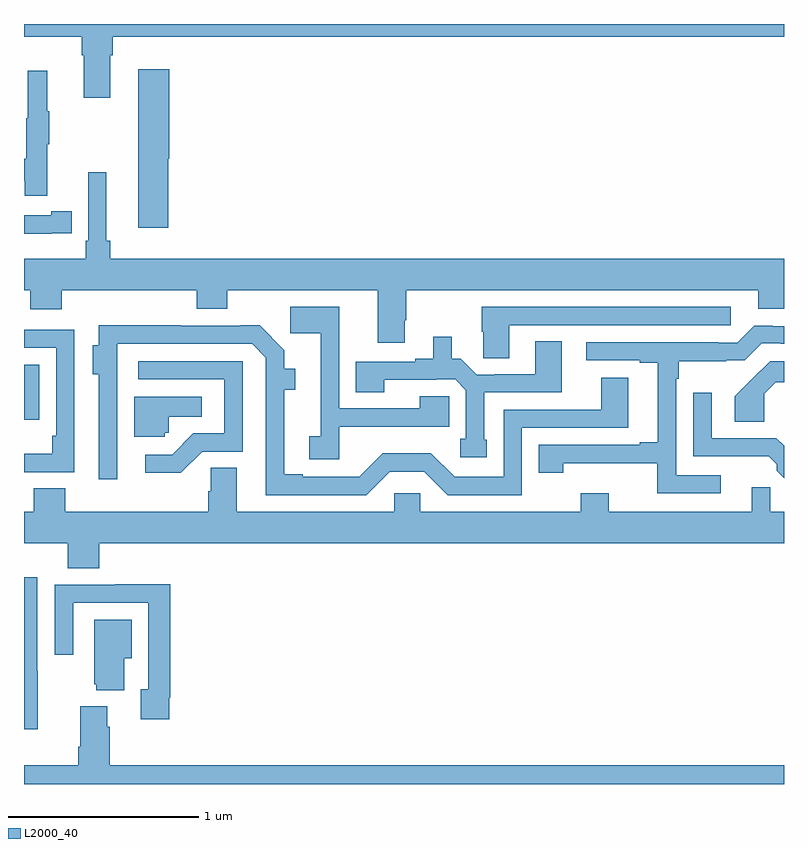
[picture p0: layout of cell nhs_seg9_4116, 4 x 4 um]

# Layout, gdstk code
import gdstk
lib = gdstk.Library(unit=1e-6, precision=1e-09)
def R(c, l, rs):  # rectangles x0, y0, x1, y1
    for r in rs: c.add(gdstk.rectangle(r[:2], r[2:], *l))
def P(c, l, *ps):  # polygons
    for p in ps: c.add(gdstk.Polygon(p, *l))
L2000_40 = (2000, 40)

nhs_seg9_4116 = lib.new_cell('nhs_seg9_4116')
R(nhs_seg9_4116, L2000_40, [(347,1182.416,347.08,1182.706)])
P(nhs_seg9_4116, L2000_40, [(347.455,1184.336),(347.468,1184.336),(347.468,1184.432),(351,1184.432),(351,1184.5),(347,1184.5),(347,1184.432),(347.303,1184.432),(347.303,1184.336),(347.315,1184.336),(347.315,1184.112),(347.455,1184.112)],
  [(347.759,1183.791),(347.764,1183.791),(347.764,1184.263),(347.6,1184.263),(347.6,1183.428),(347.759,1183.428)],
  [(347.123,1183.867),(347.134,1183.867),(347.134,1184.041),(347.123,1184.041),(347.123,1184.254),(347.02,1184.254),(347.02,1184.004),(347.013,1184.004),(347.013,1183.79),(347,1183.79),(347,1183.674),(347.005,1183.674),(347.005,1183.596),(347.123,1183.596)],
  [(347.144,1183.398),(347.252,1183.398),(347.252,1183.514),(347.144,1183.514),(347.144,1183.494),(347,1183.494),(347,1183.397),(347.144,1183.397)],
  [(347.453,1183.36),(347.434,1183.36),(347.434,1183.72),(347.337,1183.72),(347.337,1183.36),(347.324,1183.36),(347.324,1183.264),(347,1183.264),(347,1183.1),(347.033,1183.1),(347.033,1182.998),(347.198,1182.998),(347.198,1183.1),(347.909,1183.1),(347.909,1183.001),(348.069,1183.001),(348.069,1183.1),(348.863,1183.1),(348.863,1182.822),(349.003,1182.822),(349.003,1182.94),(349.011,1182.94),(349.011,1183.1),(350.864,1183.1),(350.864,1183.002),(351,1183.002),(351,1183.264),(347.453,1183.264)],
  [(348.66,1182.38),(349.127,1182.38),(349.127,1182.381),(349.237,1182.381),(349.237,1182.542),(349.084,1182.542),(349.084,1182.477),(348.66,1182.477),(348.66,1183.012),(348.402,1183.012),(348.402,1182.873),(348.563,1182.873),(348.563,1182.33),(348.501,1182.33),(348.501,1182.21),(348.66,1182.21)],
  [(349.555,1182.915),(350.719,1182.915),(350.719,1183.011),(349.408,1183.011),(349.408,1182.879),(349.417,1182.879),(349.417,1182.742),(349.555,1182.742)],
  [(348.924,1182.144),(349.107,1182.144),(349.23,1182.021),(349.62,1182.021),(349.62,1182.375),(350.179,1182.375),(350.179,1182.637),(350.039,1182.637),(350.039,1182.471),(349.524,1182.471),(349.524,1182.117),(349.266,1182.117),(349.142,1182.241),(348.888,1182.241),(348.764,1182.117),(348.466,1182.117),(348.466,1182.13),(348.37,1182.13),(348.37,1182.576),(348.427,1182.576),(348.427,1182.686),(348.371,1182.686),(348.371,1182.784),(348.241,1182.914),(348.14,1182.914),(348.14,1182.912),(347.825,1182.912),(347.825,1182.914),(347.394,1182.914),(347.394,1182.808),(347.363,1182.808),(347.363,1182.656),(347.394,1182.656),(347.394,1182.105),(347.49,1182.105),(347.49,1182.816),(348.201,1182.816),(348.273,1182.744),(348.273,1182.021),(348.801,1182.021)],
  [(350.668,1182.126),(350.433,1182.126),(350.433,1182.632),(350.446,1182.632),(350.446,1182.726),(350.696,1182.726),(350.696,1182.729),(350.793,1182.729),(350.883,1182.819),(350.984,1182.819),(350.984,1182.816),(351,1182.816),(351,1182.909),(350.942,1182.909),(350.942,1182.912),(350.844,1182.912),(350.754,1182.822),(350.654,1182.822),(350.654,1182.825),(349.959,1182.825),(349.959,1182.729),(350.24,1182.729),(350.24,1182.717),(350.336,1182.717),(350.336,1182.298),(350.24,1182.298),(350.24,1182.285),(349.71,1182.285),(349.71,1182.138),(349.838,1182.138),(349.838,1182.188),(350.332,1182.188),(350.332,1182.03),(350.668,1182.03)],
  [(347.265,1182.891),(347,1182.891),(347,1182.795),(347.169,1182.795),(347.169,1182.334),(347.149,1182.334),(347.149,1182.238),(347,1182.238),(347,1182.141),(347.265,1182.141)],
  [(349.435,1182.312),(349.422,1182.312),(349.422,1182.561),(349.831,1182.561),(349.831,1182.83),(349.691,1182.83),(349.691,1182.657),(349.477,1182.657),(349.477,1182.654),(349.383,1182.654),(349.299,1182.738),(349.252,1182.738),(349.252,1182.853),(349.154,1182.853),(349.154,1182.738),(349.058,1182.738),(349.058,1182.723),(348.745,1182.723),(348.745,1182.562),(348.897,1182.562),(348.897,1182.627),(349.169,1182.627),(349.169,1182.63),(349.269,1182.63),(349.326,1182.573),(349.326,1182.318),(349.296,1182.318),(349.296,1182.219),(349.435,1182.219)],
  [(347.937,1182.249),(348.15,1182.249),(348.15,1182.726),(347.601,1182.726),(347.601,1182.63),(348.054,1182.63),(348.054,1182.345),(347.892,1182.345),(347.781,1182.234),(347.637,1182.234),(347.637,1182.137),(347.824,1182.137)],
  [(350.896,1182.554),(350.957,1182.615),(351,1182.615),(351,1182.726),(350.927,1182.726),(350.83,1182.629),(350.829,1182.63),(350.742,1182.542),(350.742,1182.406),(350.896,1182.406)],
  [(351,1182.28),(350.959,1182.321),(350.619,1182.321),(350.619,1182.559),(350.523,1182.559),(350.523,1182.225),(350.816,1182.225),(350.816,1182.224),(350.92,1182.224),(350.961,1182.184),(350.961,1182.149),(351,1182.11)],
  [(347.742,1182.348),(347.763,1182.348),(347.763,1182.434),(347.935,1182.434),(347.935,1182.538),(347.579,1182.538),(347.579,1182.327),(347.742,1182.327)],
  [(347.396,1181.768),(351,1181.768),(351,1181.932),(350.927,1181.932),(350.927,1182.062),(350.831,1182.062),(350.831,1181.932),(350.077,1181.932),(350.077,1182.031),(349.93,1182.031),(349.93,1181.932),(349.086,1181.932),(349.086,1182.03),(348.948,1182.03),(348.948,1181.932),(348.121,1181.932),(348.121,1182.164),(347.982,1182.164),(347.982,1182.041),(347.969,1182.041),(347.969,1181.932),(347.216,1181.932),(347.216,1182.056),(347.051,1182.056),(347.051,1181.932),(347,1181.932),(347,1181.768),(347.231,1181.768),(347.231,1181.635),(347.396,1181.635)],
  [(347.073,1181.093),(347.07,1181.093),(347.07,1181.587),(347,1181.587),(347,1180.787),(347.073,1180.787)],
  [(347.764,1180.954),(347.771,1180.954),(347.771,1181.552),(347.479,1181.552),(347.479,1181.55),(347.163,1181.55),(347.163,1181.181),(347.259,1181.181),(347.259,1181.454),(347.655,1181.454),(347.655,1180.998),(347.615,1180.998),(347.615,1180.842),(347.764,1180.842)],
  [(347.527,1181.162),(347.566,1181.162),(347.566,1181.365),(347.369,1181.365),(347.369,1181.025),(347.381,1181.025),(347.381,1180.994),(347.527,1180.994)],
  [(351,1180.6),(347.45,1180.6),(347.45,1180.802),(347.437,1180.802),(347.437,1180.909),(347.297,1180.909),(347.297,1180.696),(347.285,1180.696),(347.285,1180.6),(347,1180.6),(347,1180.5),(351,1180.5)])

lib.write_gds('nhs_seg9_4116.gds')
